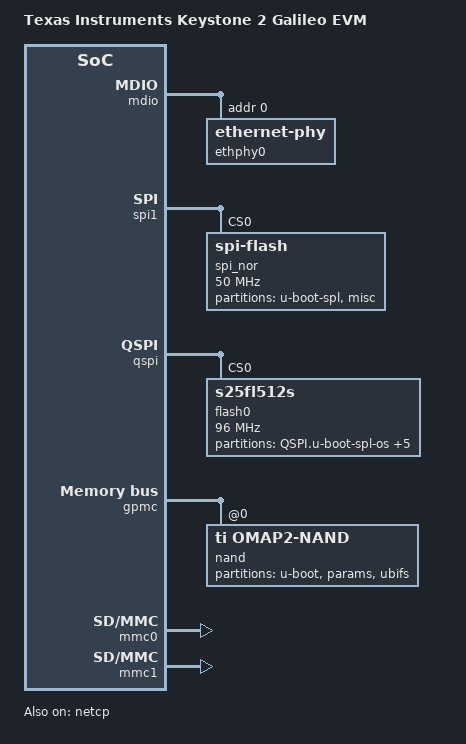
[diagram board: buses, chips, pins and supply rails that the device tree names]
/*
 * Copyright 2014 Texas Instruments, Inc.
 *
 * Keystone 2 Galileo EVM device tree
 *
 * This program is free software; you can redistribute it and/or modify
 * it under the terms of the GNU General Public License version 2 as
 * published by the Free Software Foundation.
 */
/dts-v1/;

#include "k2g.dtsi"

/ {
	compatible =  "ti,k2g-evm","ti,keystone";
	model = "Texas Instruments Keystone 2 Galileo EVM";

	chosen {
		stdout-path = &uart0;
	};
};

&mdio {
	status = "okay";
	ethphy0: ethernet-phy@0 {
		reg = <0>;
	};
};

&gbe0 {
	phy-handle = <&ethphy0>;
};

&netcp {
	status = "okay";
};

&spi1 {
	status = "okay";

	spi_nor: flash@0 {
		#address-cells = <1>;
		#size-cells = <1>;
		compatible = "spi-flash";
		spi-max-frequency = <50000000>;
		m25p,fast-read;
		reg = <0>;

		partition@0 {
			label = "u-boot-spl";
			reg = <0x0 0x80000>;
			read-only;
		};

		partition@1 {
			label = "misc";
			reg = <0x80000 0xf80000>;
		};
	};
};

&qspi {
	status = "okay";

        flash0: m25p80@0 {
                compatible = "s25fl512s","spi-flash";
                reg = <0>;
                spi-tx-bus-width = <1>;
                spi-rx-bus-width = <4>;
                spi-max-frequency = <96000000>;
                #address-cells = <1>;
                #size-cells = <1>;
                tshsl-ns = <392>;
                tsd2d-ns = <392>;
                tchsh-ns = <100>;
                tslch-ns = <100>;
		block-size = <18>;


                partition@0 {
                        label = "QSPI.u-boot-spl-os";
                        reg = <0x00000000 0x00100000>;
                };
                partition@1 {
                        label = "QSPI.u-boot-env";
                        reg = <0x00100000 0x00040000>;
                };
                partition@2 {
                        label = "QSPI.skern";
                        reg = <0x00140000 0x0040000>;
                };
                partition@3 {
                        label = "QSPI.pmmc-firmware";
                        reg = <0x00180000 0x0040000>;
                };
                partition@4 {
                        label = "QSPI.kernel";
                        reg = <0x001C0000 0x0800000>;
                };
                partition@5 {
                        label = "QSPI.file-system";
                        reg = <0x009C0000 0x3640000>;
                };
        };
};

&gpmc {
	status = "okay";
	ranges = <0 0 0x30000000 0x01000000>;	/* CS0 space. Min partition = 16MB */
	nand@0,0 {
		compatible = "ti,omap2-nand";
		reg = <0 0 4>;			/* CS0, I/O window 4 bytes */
		interrupts = <GIC_SPI 196 IRQ_TYPE_EDGE_RISING>;
		ti,nand-ecc-opt = "bch16";
		ti,elm-id = <&elm>;
		nand-bus-width = <16>;
		gpmc,device-width = <2>;
		gpmc,sync-clk-ps = <0>;
		gpmc,cs-on-ns = <0>;
		gpmc,cs-rd-off-ns = <40>;
		gpmc,cs-wr-off-ns = <40>;
		gpmc,adv-on-ns = <0>;
		gpmc,adv-rd-off-ns = <25>;
		gpmc,adv-wr-off-ns = <25>;
		gpmc,we-on-ns = <0>;
		gpmc,we-off-ns = <20>;
		gpmc,oe-on-ns = <3>;
		gpmc,oe-off-ns = <30>;
		gpmc,access-ns = <30>;
		gpmc,rd-cycle-ns = <40>;
		gpmc,wr-cycle-ns = <40>;
		gpmc,wait-pin = <0>;
		gpmc,bus-turnaround-ns = <0>;
		gpmc,cycle2cycle-delay-ns = <0>;
		gpmc,clk-activation-ns = <0>;
		gpmc,wait-monitoring-ns = <0>;
		gpmc,wr-access-ns = <40>;
		gpmc,wr-data-mux-bus-ns = <0>;
		/* MTD partition table */
		/* All SPL-* partitions are sized to minimal length
		 * which can be independently programmable. For
		 * NAND flash this is equal to size of erase-block
		 */
		#address-cells = <1>;
		#size-cells = <1>;

		nand-on-flash-bbt;
		/* MT29F2G16ABAFAWP - 256MB */
		partition@0 {
			label = "u-boot";
			reg = <0x0 0x100000>;
			read-only;
		};
		partition@100000 {
			label = "params";
			reg = <0x100000 0x80000>;
		};

		partition@180000 {
			label = "ubifs";
			reg = <0x180000 0xfe80000>;
		};
	};
};

&mmc0 {
	status = "okay";
};

&mmc1 {
	status = "okay";
};
